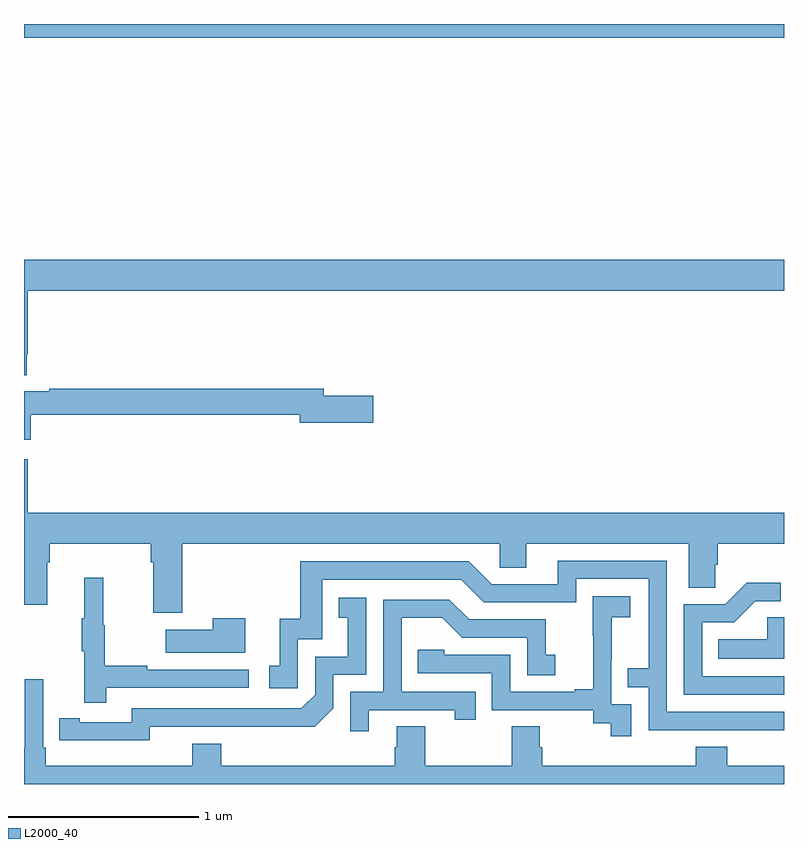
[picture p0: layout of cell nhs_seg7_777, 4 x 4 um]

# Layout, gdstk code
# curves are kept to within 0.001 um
import gdstk
lib = gdstk.Library(unit=1e-6, precision=1e-09)
def R(c, l, rs):  # rectangles x0, y0, x1, y1
    for r in rs: c.add(gdstk.rectangle(r[:2], r[2:], *l))
def P(c, l, *ps):  # polygons
    for p in ps: c.add(gdstk.Polygon(p, *l))
L2000_40 = (2000, 40)

nhs_seg7_777 = lib.new_cell('nhs_seg7_777')
R(nhs_seg7_777, L2000_40, [(169,1021.928,173,1022)])
P(nhs_seg7_777, L2000_40, [(169.014,1020.259),(169.021,1020.259),(169.021,1020.596),(173,1020.596),(173,1020.76),(169,1020.76),(169,1020.152),(169.014,1020.152)],
  [(169.036,1019.944),(170.45,1019.944),(170.45,1019.902),(170.839,1019.902),(170.839,1020.044),(170.578,1020.044),(170.578,1020.08),(169.132,1020.08),(169.132,1020.067),(169,1020.067),(169,1019.813),(169.036,1019.813)],
  [(169.021,1019.71),(169,1019.71),(169,1018.944),(169.123,1018.944),(169.123,1019.168),(169.136,1019.168),(169.136,1019.264),(169.667,1019.264),(169.667,1019.168),(169.679,1019.168),(169.679,1018.902),(169.832,1018.902),(169.832,1019.264),(171.504,1019.264),(171.504,1019.137),(171.643,1019.137),(171.643,1019.264),(172.499,1019.264),(172.499,1019.032),(172.638,1019.032),(172.638,1019.155),(172.652,1019.155),(172.652,1019.264),(173,1019.264),(173,1019.428),(169.021,1019.428)],
  [(173,1018.38),(172.383,1018.38),(172.383,1019.175),(171.809,1019.175),(171.809,1019.052),(171.462,1019.052),(171.342,1019.172),(170.455,1019.172),(170.455,1018.87),(170.345,1018.87),(170.345,1018.623),(170.292,1018.623),(170.292,1018.503),(170.442,1018.503),(170.442,1018.761),(170.571,1018.761),(170.571,1019.076),(171.3,1019.076),(171.42,1018.956),(171.906,1018.956),(171.906,1019.079),(172.287,1019.079),(172.287,1018.61),(172.177,1018.61),(172.177,1018.509),(172.287,1018.509),(172.287,1018.284),(173,1018.283)],
  [(169.433,1018.506),(170.182,1018.506),(170.182,1018.602),(169.649,1018.602),(169.649,1018.622),(169.426,1018.622),(169.426,1018.836),(169.418,1018.836),(169.418,1019.086),(169.316,1019.086),(169.316,1018.873),(169.305,1018.873),(169.305,1018.699),(169.316,1018.699),(169.316,1018.428),(169.433,1018.428)],
  [(173,1018.566),(172.569,1018.566),(172.569,1018.851),(172.738,1018.851),(172.849,1018.962),(172.984,1018.962),(172.984,1019.06),(172.805,1019.06),(172.692,1018.947),(172.473,1018.947),(172.473,1018.47),(173,1018.47)],
  [(172.197,1018.419),(172.092,1018.419),(172.092,1018.649),(172.094,1018.649),(172.094,1018.877),(172.192,1018.877),(172.192,1018.987),(171.994,1018.987),(171.994,1018.781),(171.995,1018.781),(171.995,1018.498),(171.899,1018.498),(171.899,1018.485),(171.558,1018.485),(171.558,1018.68),(171.213,1018.68),(171.213,1018.707),(171.073,1018.707),(171.073,1018.584),(171.462,1018.584),(171.462,1018.389),(171.996,1018.389),(171.996,1018.321),(172.089,1018.321),(172.089,1018.251),(172.197,1018.251)],
  [(169.662,1018.302),(170.53,1018.301),(170.628,1018.398),(170.628,1018.575),(170.802,1018.575),(170.802,1018.981),(170.656,1018.981),(170.656,1018.875),(170.705,1018.875),(170.705,1018.671),(170.532,1018.671),(170.532,1018.47),(170.46,1018.398),(169.566,1018.398),(169.566,1018.326),(169.294,1018.326),(169.294,1018.346),(169.186,1018.346),(169.186,1018.23),(169.662,1018.229)],
  [(170.815,1018.389),(171.266,1018.389),(171.266,1018.338),(171.377,1018.338),(171.377,1018.485),(170.988,1018.485),(170.988,1018.874),(171.202,1018.874),(171.306,1018.77),(171.648,1018.77),(171.648,1018.572),(171.796,1018.572),(171.796,1018.681),(171.747,1018.681),(171.747,1018.866),(171.343,1018.866),(171.238,1018.971),(170.892,1018.971),(170.892,1018.485),(170.718,1018.485),(170.718,1018.278),(170.815,1018.278)],
  [(173,1018.877),(172.911,1018.877),(172.911,1018.762),(172.654,1018.762),(172.654,1018.658),(173,1018.658)],
  [(170.164,1018.873),(169.994,1018.873),(169.994,1018.813),(169.745,1018.813),(169.745,1018.691),(170.164,1018.691)],
  [(173,1018.096),(172.7,1018.096),(172.7,1018.195),(172.535,1018.195),(172.535,1018.096),(171.728,1018.096),(171.728,1018.194),(171.715,1018.194),(171.715,1018.304),(171.568,1018.304),(171.568,1018.096),(171.111,1018.096),(171.111,1018.304),(170.963,1018.304),(170.963,1018.194),(170.951,1018.194),(170.951,1018.096),(170.039,1018.096),(170.039,1018.213),(169.886,1018.213),(169.886,1018.096),(169.115,1018.096),(169.115,1018.192),(169.101,1018.192),(169.101,1018.552),(169.004,1018.552),(169.004,1018.192),(169,1018.192),(169,1018),(173,1018)])

lib.write_gds('nhs_seg7_777.gds')
